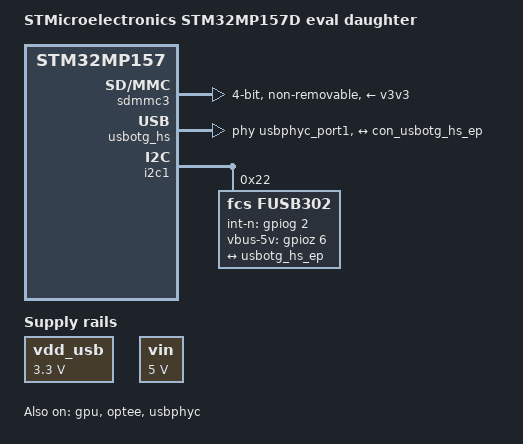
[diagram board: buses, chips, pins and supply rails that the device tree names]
// SPDX-License-Identifier: (GPL-2.0+ OR BSD-3-Clause)
/*
 * Copyright (C) STMicroelectronics 2019 - All Rights Reserved
 * Author: Alexandre Torgue <alexandre.torgue@st.com> for STMicroelectronics.
 */
/dts-v1/;

#include "stm32mp157.dtsi"
#include "stm32mp15xd.dtsi"
#include "stm32mp15-pinctrl.dtsi"
#include "stm32mp15xxaa-pinctrl.dtsi"
#include "stm32mp157-m4-srm.dtsi"
#include "stm32mp157-m4-srm-pinctrl.dtsi"
#include "stm32mp157d-atk.dtsi"
#include <dt-bindings/usb/pd.h>

/ {
	model = "STMicroelectronics STM32MP157D eval daughter";
	compatible = "st,stm32mp157d-ed1", "st,stm32mp157";

	chosen {
		stdout-path = "serial0:115200n8";
	};

	aliases {
		serial0 = &uart4;
	};

	reserved-memory {
		gpu_reserved: gpu@f6000000 {
			reg = <0xf6000000 0x8000000>;
			no-map;
		};

		optee_memory: optee@fe000000 {
			reg = <0xfe000000 0x02000000>;
			no-map;
		};
	};

	usb_phy_tuning: usb-phy-tuning {
    	st,hs-dc-level = <2>;
    	st,fs-rftime-tuning;
    	st,hs-rftime-reduction;
    	st,hs-current-trim = <15>;
    	st,hs-impedance-trim = <1>;
    	st,squelch-level = <3>;
		st,hs-rx-offset = <2>;
		st,no-lsfs-sc;
	};

	vdd_usb: regulator-vdd-usb {
		compatible = "regulator-fixed";
		regulator-name = "vdd_usb";
		regulator-min-microvolt = <3300000>;
		regulator-max-microvolt = <3300000>;
		regulator-always-on;
		regulator-boot-on;
	};

	vin: regulator-vin {
		compatible = "regulator-fixed";
		regulator-name = "vin";
		regulator-min-microvolt = <5000000>;
		regulator-max-microvolt = <5000000>;
		regulator-always-on;
		regulator-boot-on;
	};
};

&cpu1{
	cpu-supply = <&vddcore>;
};

&gpu {
	contiguous-area = <&gpu_reserved>;
	status = "okay";
};

&optee {
	status = "okay";
};


/* for sdio wifi */
&sdmmc3 {
	pinctrl-names = "default", "opendrain", "sleep";
	pinctrl-0 = <&sdmmc3_b4_pins_a>;
	pinctrl-1 = <&sdmmc3_b4_od_pins_a>;
	pinctrl-2 = <&sdmmc3_b4_sleep_pins_a>;
	non-removable;
	st,neg-edge;
	bus-width = <4>;
	vmmc-supply = <&v3v3>;
	status = "okay";
	keep-power-in-suspend;
};

/*for usb otg*/
&usbphyc {
	status = "okay";
};

&usbphyc_port1 {
	phy-supply = <&vdd_usb>;
	st,phy-tuning = <&usb_phy_tuning>;
};

&usbotg_hs {
	phys = <&usbphyc_port1 0>;
	phy-names = "usb2-phy";
	usb-role-switch;
	status = "okay";
	port {
		usbotg_hs_ep: endpoint {
			remote-endpoint = <&con_usbotg_hs_ep>;
		};
	};
};

/*for drd driver(stusb1600)*/
&pinctrl {
	usbdrd_pins_b: usbxxx-0 {
		pins {
			pinmux = <STM32_PINMUX('G', 2, ANALOG)>;
			bias-pull-up;
		};
	};
};

&i2c1 {
	pinctrl-names = "default", "sleep";
	pinctrl-0 = <&i2c1_pins_b>;
	pinctrl-1 = <&i2c1_pins_sleep_b>;
	status = "okay";
#if 0
	stusb1600@28 {
	compatible = "st,stusb1600";
		reg = <0x28>;
		interrupts = <2 IRQ_TYPE_EDGE_FALLING>;
		interrupt-parent = <&gpiog>;
		pinctrl-names = "default";
		pinctrl-0 = <&usbdrd_pins_b>;
		status = "okay";
		vdd-supply = <&vin>;

		connector {
			compatible = "usb-c-connector";
			label = "USB-C";
			power-role = "dual";
			power-opmode = "default";

			port {
				con_usbotg_hs_ep: endpoint {
					remote-endpoint = <&usbotg_hs_ep>;
				};
			};
		};
	};
#endif

	fusb302@22 {
		compatible = "fcs,fusb302","fairchild,fusb302";
		reg = <0x22>;
		pinctrl-names = "default";
		pinctrl-0 = <&usbdrd_pins_b>;
		int-n-gpios = <&gpiog 2 GPIO_ACTIVE_HIGH>;
		vbus-5v-gpios = <&gpioz 6 GPIO_ACTIVE_HIGH>;
		status = "okay";

		connector {
			compatible = "usb-c-connector";
			label = "USB-C";
			power-role = "dual";
			power-opmode = "default";

			try-power-role = "sink";
			source-pdos = <PDO_FIXED(5000, 3000, PDO_FIXED_USB_COMM)>;
			sink-pdos = <PDO_FIXED(5000, 3000, PDO_FIXED_USB_COMM)
							PDO_VAR(3000, 12000, 3000)
							PDO_PPS_APDO(3000, 11000, 3000)>;
			op-sink-microwatt = <10000000>;
			port {
				con_usbotg_hs_ep: endpoint {
					remote-endpoint = <&usbotg_hs_ep>;
				};
			};
		};
	};

};



